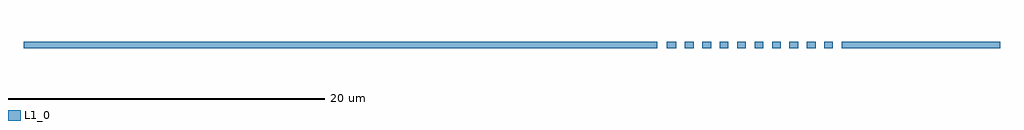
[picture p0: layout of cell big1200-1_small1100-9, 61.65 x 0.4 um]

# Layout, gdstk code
import gdstk
lib = gdstk.Library(unit=1e-6, precision=1e-09)
def R(c, l, rs):  # rectangles x0, y0, x1, y1
    for r in rs: c.add(gdstk.rectangle(r[:2], r[2:], *l))
def A(c, l, x, y, w, h, nx, ny, dx, dy):  # array of equal rectangles
    R(c, l, [(x+i*dx, y+j*dy, x+i*dx+w, y+j*dy+h) for i in range(nx) for j in range(ny)])
L1_0 = (1, 0)

big1200_1_small1100_9 = lib.new_cell('big1200-1_small1100-9')
A(big1200_1_small1100_9, L1_0, 1.75, 0, 0.55, 0.4, 9, 1, 1.1, 0)
R(big1200_1_small1100_9, L1_0, [(-40,0,0,0.4), (0.6,0,1.2,0.4), (11.65,0,21.65,0.4)])

lib.write_gds('big1200-1_small1100-9.gds')
